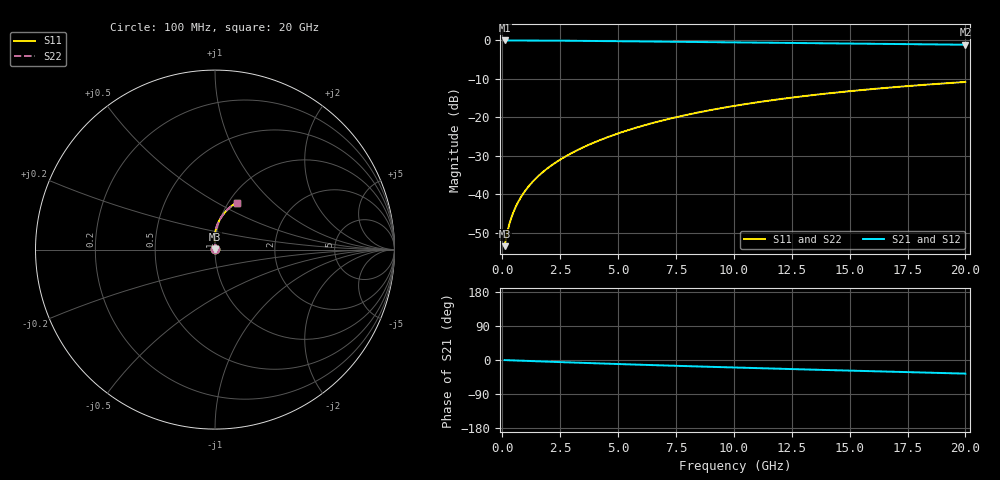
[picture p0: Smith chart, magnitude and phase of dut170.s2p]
! Touchstone file exported from HFSS 2024.1.0
!  File:  C:/UserFiles/LocalFiles/RDL_TSV_Batchsim/temp_RDL_top_170_1778685809.aedt
!  Generated:  11:25:36 PM May 13, 2026
!  Design:  RDL_top
!  Project:  temp_RDL_top_170_1778685809
!  Setup:  Setup1
!  Solution:  Sweep
! Variables:
!  dtsv = 10.80580581um
!  hbump = 3um
!  htsv = 66.87um
!  ldown = 100um
!  lrdl = 532.9um
!  p = 40
!  p1 = 52.57um
!  rhole = 1um
!  t = 450um
!  tdown = 3.915915916um
!  trdl = 4.62um
!  wdown = 15.38538539um
!  wrdl = 27.84um
# GHz S MA R 50.000000
! Terminal data exported
! Port[1] = Box2_T1
! Port[2] = Box2_T2
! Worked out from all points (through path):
!   200 points, 100 MHz to 20 GHz, reference 50 ohm
!   highest |S21| = -0.01 dB at 100 MHz (marker M1); lowest = -1.1 dB at 20 GHz (marker M2)
!   group delay of S21, straight-line fit = 4.9 ps
!   lowest |S11| = -53.5 dB at 100 MHz (marker M3), VSWR 1.00, Z = 50.2 + j0.128 ohm
!   |S11| at or under -10 dB: start of sweep to end of sweep
!   |S22| runs from -53.5 to -10.8 dB; largest |S21 - S12| = 3.5e-15
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0.1  0.002116 37.2  0.9983 -0.2  0.9983 -0.2  0.002116 37.2
! Gamma 0 0 0 0
! Port Impedance 50 0 50 0
0.2  0.003066 53.7  0.9981 -0.5  0.9981 -0.5  0.003066 53.7
0.3  0.004067 61.7  0.9979 -0.7  0.9979 -0.7  0.004068 61.7
0.4  0.005062 66.7  0.9978 -0.9  0.9978 -0.9  0.005063 66.7
0.5  0.006058 70.3  0.9976 -1.1  0.9976 -1.1  0.006059 70.3
0.6  0.007063 73.1  0.9974 -1.4  0.9974 -1.4  0.007064 73.1
0.8  0.00911 77.3  0.9971 -1.8  0.9971 -1.8  0.009111 77.2
1.1  0.01227 81.3  0.9964 -2.5  0.9964 -2.5  0.01227 81.3
1.3  0.01443 83.2  0.9959 -2.9  0.9959 -2.9  0.01443 83.1
1.6  0.01774 85.3  0.995 -3.6  0.995 -3.6  0.01774 85.3
2.1  0.02346 87.7  0.9931 -4.7  0.9931 -4.7  0.02346 87.7
2.7  0.03066 89.5  0.9904 -6.0  0.9904 -6.0  0.03065 89.5
3.5  0.04085 90.9  0.986 -7.6  0.986 -7.6  0.04084 90.9
4.2  0.05033 91.4  0.9817 -9.1  0.9817 -9.1  0.05032 91.4
5  0.06174 91.4  0.9764 -10.7  0.9764 -10.7  0.06172 91.4
6.8  0.08915 89.8  0.9638 -14.1  0.9638 -14.1  0.08911 89.8
8.4  0.1147 87.4  0.9527 -17.0  0.9527 -17.0  0.1147 87.4
10.1  0.1422 84.3  0.9412 -19.9  0.9412 -19.9  0.1421 84.2
11.7  0.1679 81.1  0.9307 -22.6  0.9307 -22.6  0.1678 81.1
13.4  0.1945 77.8  0.9198 -25.5  0.9198 -25.5  0.1944 77.8
16.7  0.2435 71.4  0.8991 -30.8  0.8991 -30.8  0.2433 71.4
20  0.2882 65.3  0.8787 -35.9  0.8787 -35.9  0.288 65.3
